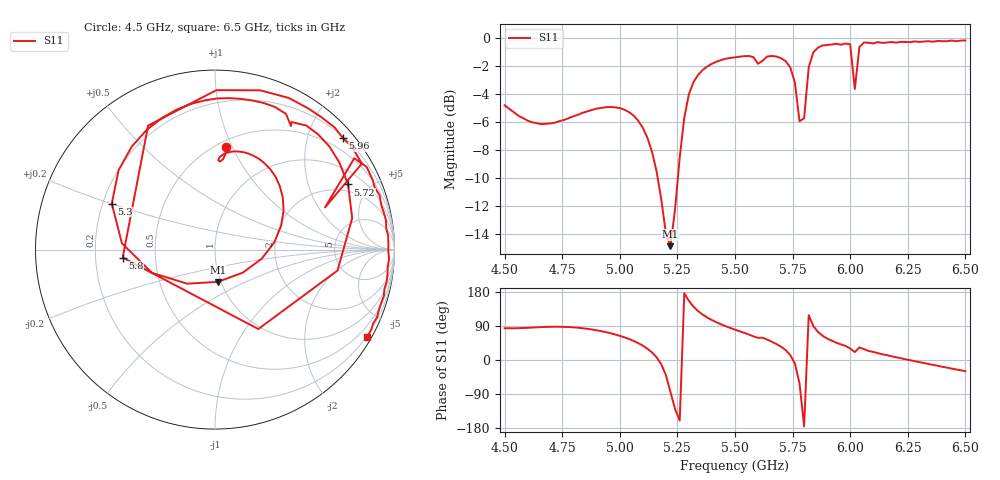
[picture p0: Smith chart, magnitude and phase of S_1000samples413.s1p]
! TOUCHSTONE file generated by CST MICROWAVE STUDIO
! Date and time: Fri Oct 28 02:18:17 2022
! Project name: L.cst
! Parameters = {Di=1.27; Epsilon_r=1.56; InnerDiameter=1.27; Length=2; Lf=10; Lg=60; OuterConductorThickness=0.2921; OuterDiameter=3.6; Wf=3; Wp=41.2; de=1.5; df=6.8; g=0.8; gx=1.33421; gy=3.97562; h=2.34; hf=1.524; px=14.6661; py=10.4533; w=9.7; wx=13.3319; wy=6.47767}
! Header version: 2018
! Port assignment regex: !\s*Touchstone port\s*([0-9]+)\s*=\s*(CST MWS port|CST DS port)\s*([0-9]+|Zmin|Zmax)\s*\(\"(.*)\"\)(\s*mode\s*([0-9]+))?.*
! Touchstone port assignment:
! Touchstone port 1 = CST MWS port 1 ("")
# GHz S DB R 50
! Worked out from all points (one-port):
!   101 points, 4.5 GHz to 6.5 GHz, reference 50 ohm
!   lowest |S11| = -14.9 dB at 5.22 GHz (marker M1), VSWR 1.44, Z = 48.4 - j18 ohm
!   |S11| at or under -10 dB: 5.164 GHz to 5.252 GHz (87.55 MHz wide, 1.68 % of centre)
!   S11 on the Smith chart (normalised r, x): 4.5 GHz: 0.56, +0.95; 5.3 GHz: 0.24, +0.20; 5.72 GHz: 1.60, +3.65; 5.8 GHz: 0.32, -0.04; 5.96 GHz: 0.23, +2.65; 6.5 GHz: 0.16, -3.75
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4.5  -4.81 83.7
4.76  -5.85 87.4
5  -5.01 63.8
5.08  -5.92 44.5
5.14  -8.15 19.7
5.18  -11.53 -11.1
5.22  -14.87 -84.9
5.26  -8.54 -159.7
5.28  -5.68 176.1
5.3  -4.02 156.0
5.34  -2.64 128.9
5.38  -2.04 111.9
5.5  -1.39 80.0
5.64  -1.33 53.7
5.72  -1.67 26.1
5.76  -3.19 -9.7
5.78  -5.95 -61.4
5.8  -5.74 -175.1
5.82  -2.10 118.3
5.84  -1.03 89.5
5.88  -0.54 64.0
5.96  -0.49 41.1
6  -0.46 30.4
6.02  -3.65 21.0
6.04  -0.65 33.3
6.12  -0.30 18.1
6.26  -0.31 -0.4
6.5  -0.19 -29.8
